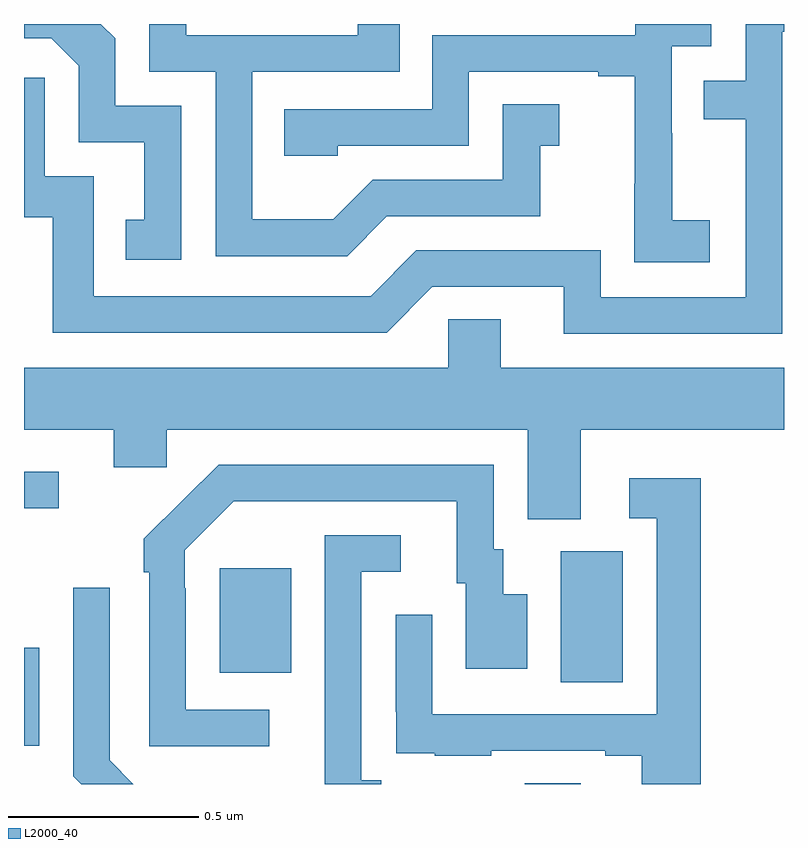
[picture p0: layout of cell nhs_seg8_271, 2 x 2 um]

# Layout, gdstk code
import gdstk
lib = gdstk.Library(unit=1e-6, precision=1e-09)
def R(c, l, rs):  # rectangles x0, y0, x1, y1
    for r in rs: c.add(gdstk.rectangle(r[:2], r[2:], *l))
def P(c, l, *ps):  # polygons
    for p in ps: c.add(gdstk.Polygon(p, *l))
L2000_40 = (2000, 40)

nhs_seg8_271 = lib.new_cell('nhs_seg8_271')
R(nhs_seg8_271, L2000_40, [(115.318,1116.9,115.465,1116.902), (114,1117.001,114.04,1117.258), (115.412,1117.168,115.576,1117.512), (114.515,1117.193,114.703,1117.468), (114,1117.626,114.091,1117.722)])
P(nhs_seg8_271, L2000_40, [(114.955,1118.394),(115.359,1118.394),(115.359,1118.579),(115.408,1118.579),(115.408,1118.689),(115.26,1118.689),(115.26,1118.49),(114.918,1118.49),(114.814,1118.386),(114.6,1118.386),(114.6,1118.775),(114.989,1118.775),(114.989,1118.9),(114.878,1118.9),(114.878,1118.871),(114.427,1118.871),(114.427,1118.9),(114.33,1118.9),(114.33,1118.775),(114.504,1118.775),(114.504,1118.289),(114.85,1118.289)],
  [(115.995,1118.88),(116,1118.88),(116,1118.9),(115.899,1118.9),(115.899,1118.751),(115.789,1118.751),(115.789,1118.65),(115.899,1118.65),(115.899,1118.181),(115.518,1118.181),(115.518,1118.304),(115.032,1118.304),(114.912,1118.184),(114.183,1118.184),(114.183,1118.499),(114.054,1118.499),(114.054,1118.758),(114,1118.758),(114,1118.391),(114.075,1118.391),(114.075,1118.088),(114.954,1118.088),(115.074,1118.208),(115.421,1118.208),(115.421,1118.085),(115.995,1118.085)],
  [(115.804,1118.383),(115.706,1118.383),(115.706,1118.612),(115.704,1118.612),(115.704,1118.841),(115.809,1118.841),(115.809,1118.9),(115.608,1118.9),(115.608,1118.871),(115.074,1118.871),(115.074,1118.676),(114.685,1118.676),(114.685,1118.553),(114.825,1118.553),(114.825,1118.58),(115.17,1118.58),(115.17,1118.775),(115.511,1118.775),(115.511,1118.763),(115.607,1118.763),(115.607,1118.479),(115.606,1118.479),(115.606,1118.273),(115.804,1118.273)],
  [(114.414,1118.685),(114.24,1118.685),(114.24,1118.862),(114.202,1118.9),(114,1118.9),(114,1118.862),(114.072,1118.862),(114.144,1118.79),(114.144,1118.589),(114.317,1118.589),(114.317,1118.385),(114.268,1118.385),(114.268,1118.28),(114.414,1118.28)],
  [(115.465,1117.832),(116,1117.832),(116,1117.996),(115.255,1117.996),(115.255,1118.123),(115.116,1118.123),(115.116,1117.996),(114,1117.996),(114,1117.832),(114.236,1117.832),(114.236,1117.734),(114.375,1117.734),(114.375,1117.832),(115.325,1117.832),(115.325,1117.597),(115.465,1117.597)],
  [(114.646,1117.095),(114.426,1117.095),(114.426,1117.415),(114.423,1117.415),(114.423,1117.515),(114.552,1117.644),(115.139,1117.644),(115.139,1117.428),(115.163,1117.428),(115.163,1117.203),(115.324,1117.203),(115.324,1117.399),(115.261,1117.399),(115.261,1117.518),(115.236,1117.518),(115.236,1117.74),(114.512,1117.74),(114.421,1117.649),(114.42,1117.65),(114.315,1117.545),(114.315,1117.457),(114.33,1117.457),(114.33,1116.999),(114.646,1116.999)],
  [(115.781,1117.705),(115.593,1117.705),(115.593,1117.599),(115.665,1117.599),(115.665,1117.083),(115.074,1117.083),(115.074,1117.345),(114.978,1117.345),(114.978,1117.09),(114.979,1117.09),(114.979,1116.981),(115.081,1116.981),(115.081,1116.975),(115.229,1116.975),(115.229,1116.987),(115.529,1116.987),(115.529,1116.975),(115.625,1116.975),(115.625,1116.9),(115.781,1116.9)],
  [(114.94,1116.91),(114.888,1116.91),(114.888,1117.458),(114.991,1117.458),(114.991,1117.554),(114.792,1117.554),(114.792,1117.097),(114.791,1117.097),(114.791,1116.9),(114.94,1116.9)],
  [(114.225,1116.963),(114.225,1117.417),(114.129,1117.417),(114.129,1116.921),(114.15,1116.9),(114.288,1116.9)])

lib.write_gds('nhs_seg8_271.gds')
